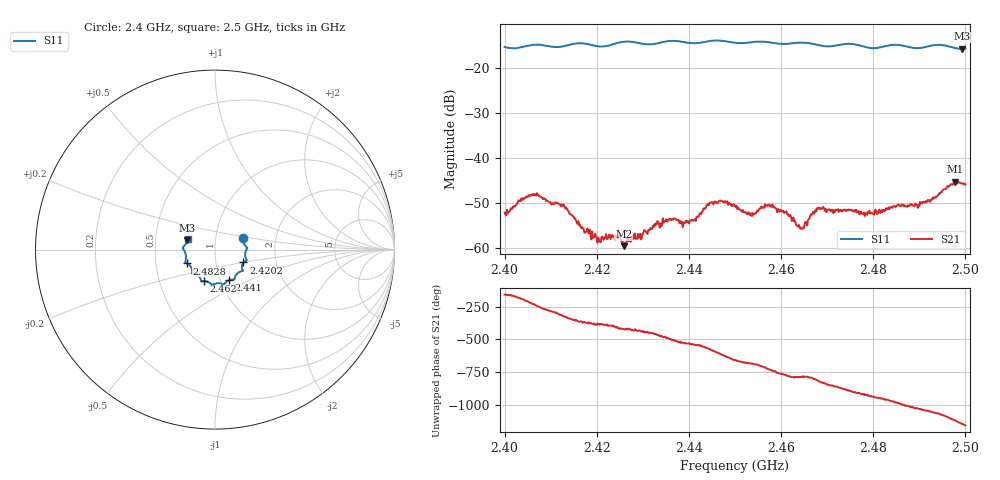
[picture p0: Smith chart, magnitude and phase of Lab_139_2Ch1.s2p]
# Hz S RI R 50
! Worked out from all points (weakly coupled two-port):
!   601 points, 2.4 GHz to 2.5 GHz, reference 50 ohm
!   highest |S21| = -45.30 dB at 2.4978 GHz (marker M1); lowest = -59.6 dB at 2.4258 GHz (marker M2)
!   lowest |S11| = -15.8 dB at 2.4993 GHz (marker M3), VSWR 1.39, Z = 36.5 + j3.9 ohm
!   |S11| at or under -10 dB: start of sweep to end of sweep
!   S12 and S22 are empty: the file has one direction only
!   S11 on the Smith chart (normalised r, x): 2.4 GHz: 1.36, +0.17; 2.4202 GHz: 1.36, -0.20; 2.441 GHz: 1.10, -0.39; 2.462 GHz: 0.84, -0.30; 2.4828 GHz: 0.72, -0.11; 2.5 GHz: 0.73, +0.09
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2.4e9  0.1581 0.062  -0.0023 -0.000902  0 0  0 0
2.406833e9  0.1804 0.00956  -0.0018 0.00336  0 0  0 0
2.413167e9  0.1702 -0.0416  0.00235 0.00141  0 0  0 0
2.416667e9  0.1768 -0.0604  0.00166 -9.47e-05  0 0  0 0
2.420167e9  0.1579 -0.0718  0.00108 -0.000374  0 0  0 0
2.425833e9  0.1558 -0.1167  0.00049 -0.000926  0 0  0 0
2.433333e9  0.1116 -0.1512  -0.000611 -0.00185  0 0  0 0
2.441e9  0.0782 -0.1702  -0.00203 2.67e-05  0 0  0 0
2.4445e9  0.0538 -0.1908  -0.00255 0.00191  0 0  0 0
2.45e9  0.0277 -0.1876  0.00147 0.00259  0 0  0 0
2.453667e9  -0.00549 -0.1924  0.00185 0.0013  0 0  0 0
2.457667e9  -0.0235 -0.1897  0.0028 -0.000708  0 0  0 0
2.462e9  -0.0608 -0.1756  0.000985 -0.00211  0 0  0 0
2.4645e9  -0.0748 -0.175  0.000683 -0.00149  0 0  0 0
2.466667e9  -0.0787 -0.1677  0.000657 -0.00225  0 0  0 0
2.468333e9  -0.084 -0.1562  -0.000634 -0.00274  0 0  0 0
2.482833e9  -0.1572 -0.0768  -0.00132 0.00244  0 0  0 0
2.483333e9  -0.1601 -0.0755  -0.00112 0.00259  0 0  0 0
2.489833e9  -0.1636 -0.0253  0.002 0.00226  0 0  0 0
2.497833e9  -0.1622 0.0328  0.00391 -0.00378  0 0  0 0
2.499333e9  -0.1541 0.0521  0.00199 -0.00484  0 0  0 0
2.5e9  -0.1526 0.0615  0.000944 -0.00496  0 0  0 0
